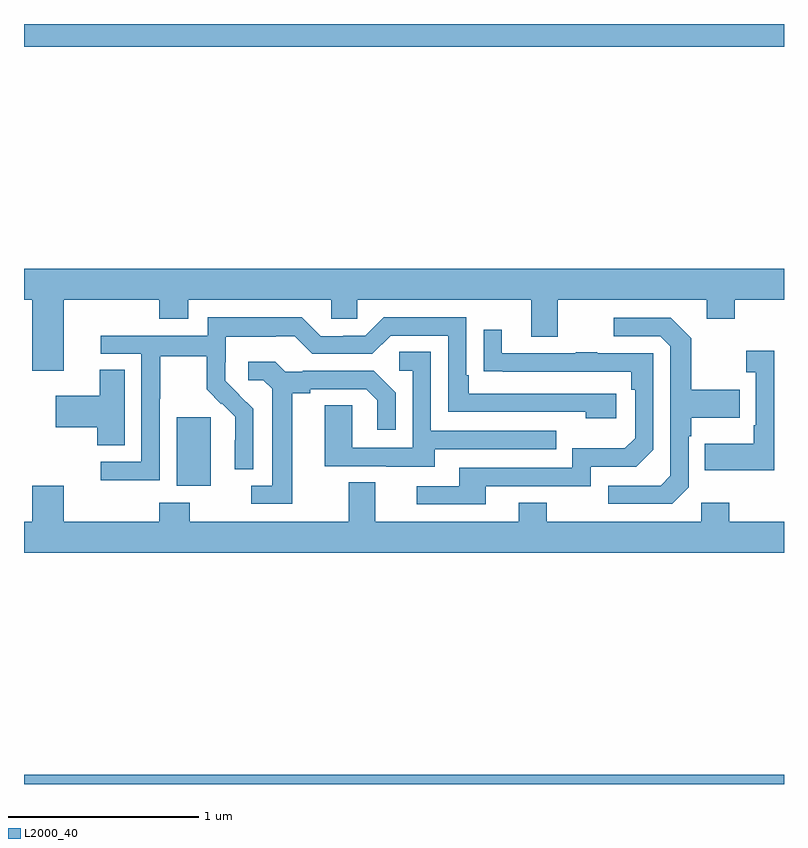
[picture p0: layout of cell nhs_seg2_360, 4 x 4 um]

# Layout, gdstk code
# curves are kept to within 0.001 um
import gdstk
lib = gdstk.Library(unit=1e-6, precision=1e-09)
def R(c, l, rs):  # rectangles x0, y0, x1, y1
    for r in rs: c.add(gdstk.rectangle(r[:2], r[2:], *l))
def P(c, l, *ps):  # polygons
    for p in ps: c.add(gdstk.Polygon(p, *l))
L2000_40 = (2000, 40)

nhs_seg2_360 = lib.new_cell('nhs_seg2_360')
R(nhs_seg2_360, L2000_40, [(129,599.8,133,599.848), (129.803,601.37,129.982,601.731), (129,603.68,133,603.8)])
P(nhs_seg2_360, L2000_40, [(129.208,602.348),(129.713,602.348),(129.713,602.249),(129.865,602.249),(129.865,602.348),(130.617,602.348),(130.617,602.25),(130.755,602.25),(130.755,602.348),(131.669,602.348),(131.669,602.154),(131.809,602.154),(131.809,602.348),(132.593,602.348),(132.593,602.249),(132.741,602.249),(132.741,602.348),(133,602.348),(133,602.512),(129,602.512),(129,602.348),(129.044,602.348),(129.044,601.974),(129.208,601.974)],
  [(129.714,601.828),(129.717,601.828),(129.717,602.052),(129.961,602.052),(129.961,601.877),(130.038,601.8),(130.041,601.803),(130.112,601.733),(130.112,601.61),(130.11,601.61),(130.11,601.456),(130.206,601.456),(130.206,601.774),(130.06,601.922),(130.06,602.019),(130.062,602.019),(130.062,602.153),(130.325,602.153),(130.325,602.157),(130.425,602.157),(130.518,602.064),(130.833,602.064),(130.929,602.16),(131.232,602.16),(131.232,601.758),(131.957,601.758),(131.957,601.724),(132.118,601.724),(132.118,601.854),(131.341,601.854),(131.341,601.951),(131.328,601.951),(131.328,602.256),(130.893,602.256),(130.797,602.16),(130.679,602.16),(130.679,602.157),(130.563,602.157),(130.463,602.257),(129.966,602.257),(129.966,602.16),(129.405,602.16),(129.405,602.064),(129.618,602.064),(129.618,601.497),(129.405,601.497),(129.405,601.399),(129.714,601.399)],
  [(132.498,601.362),(132.498,601.631),(132.511,601.631),(132.511,601.727),(132.767,601.727),(132.767,601.875),(132.511,601.875),(132.511,602.147),(132.405,602.253),(132.105,602.253),(132.105,602.157),(132.348,602.157),(132.402,602.103),(132.402,601.422),(132.351,601.371),(132.075,601.371),(132.075,601.275),(132.411,601.275)],
  [(131.431,601.368),(131.982,601.368),(131.982,601.47),(132.222,601.47),(132.312,601.56),(132.312,602.067),(132.017,602.067),(132.017,602.072),(131.905,602.072),(131.905,602.067),(131.515,602.067),(131.515,602.191),(131.419,602.191),(131.419,601.972),(132.196,601.971),(132.196,601.874),(132.216,601.874),(132.216,601.62),(132.163,601.567),(131.886,601.567),(131.886,601.464),(131.291,601.464),(131.291,601.368),(131.067,601.368),(131.067,601.272),(131.431,601.272)],
  [(132.948,602.08),(132.801,602.08),(132.801,601.967),(132.852,601.967),(132.852,601.687),(132.84,601.687),(132.84,601.591),(132.583,601.591),(132.583,601.451),(132.948,601.451)],
  [(131.161,601.563),(131.801,601.563),(131.801,601.659),(131.142,601.659),(131.142,602.075),(130.974,602.075),(130.974,601.974),(131.046,601.974),(131.046,601.569),(130.728,601.569),(130.728,601.793),(130.583,601.793),(130.583,601.473),(130.907,601.473),(130.907,601.469),(131.161,601.469)],
  [(130.411,601.856),(130.507,601.856),(130.507,601.878),(130.802,601.878),(130.859,601.821),(130.859,601.665),(130.956,601.665),(130.956,601.858),(130.84,601.974),(130.468,601.974),(130.468,601.971),(130.374,601.971),(130.322,602.023),(130.179,602.023),(130.179,601.926),(130.26,601.926),(130.307,601.879),(130.307,601.371),(130.197,601.371),(130.197,601.275),(130.411,601.275)],
  [(129.529,601.979),(129.398,601.979),(129.398,601.843),(129.168,601.843),(129.168,601.678),(129.386,601.678),(129.386,601.582),(129.529,601.582)],
  [(133,601.18),(132.711,601.18),(132.711,601.279),(132.564,601.279),(132.564,601.18),(131.751,601.18),(131.751,601.279),(131.603,601.279),(131.603,601.18),(130.849,601.18),(130.849,601.388),(130.709,601.388),(130.709,601.18),(129.873,601.18),(129.873,601.279),(129.713,601.279),(129.713,601.18),(129.208,601.18),(129.208,601.369),(129.044,601.369),(129.044,601.18),(129,601.18),(129,601.016),(133,601.016)])

lib.write_gds('nhs_seg2_360.gds')
